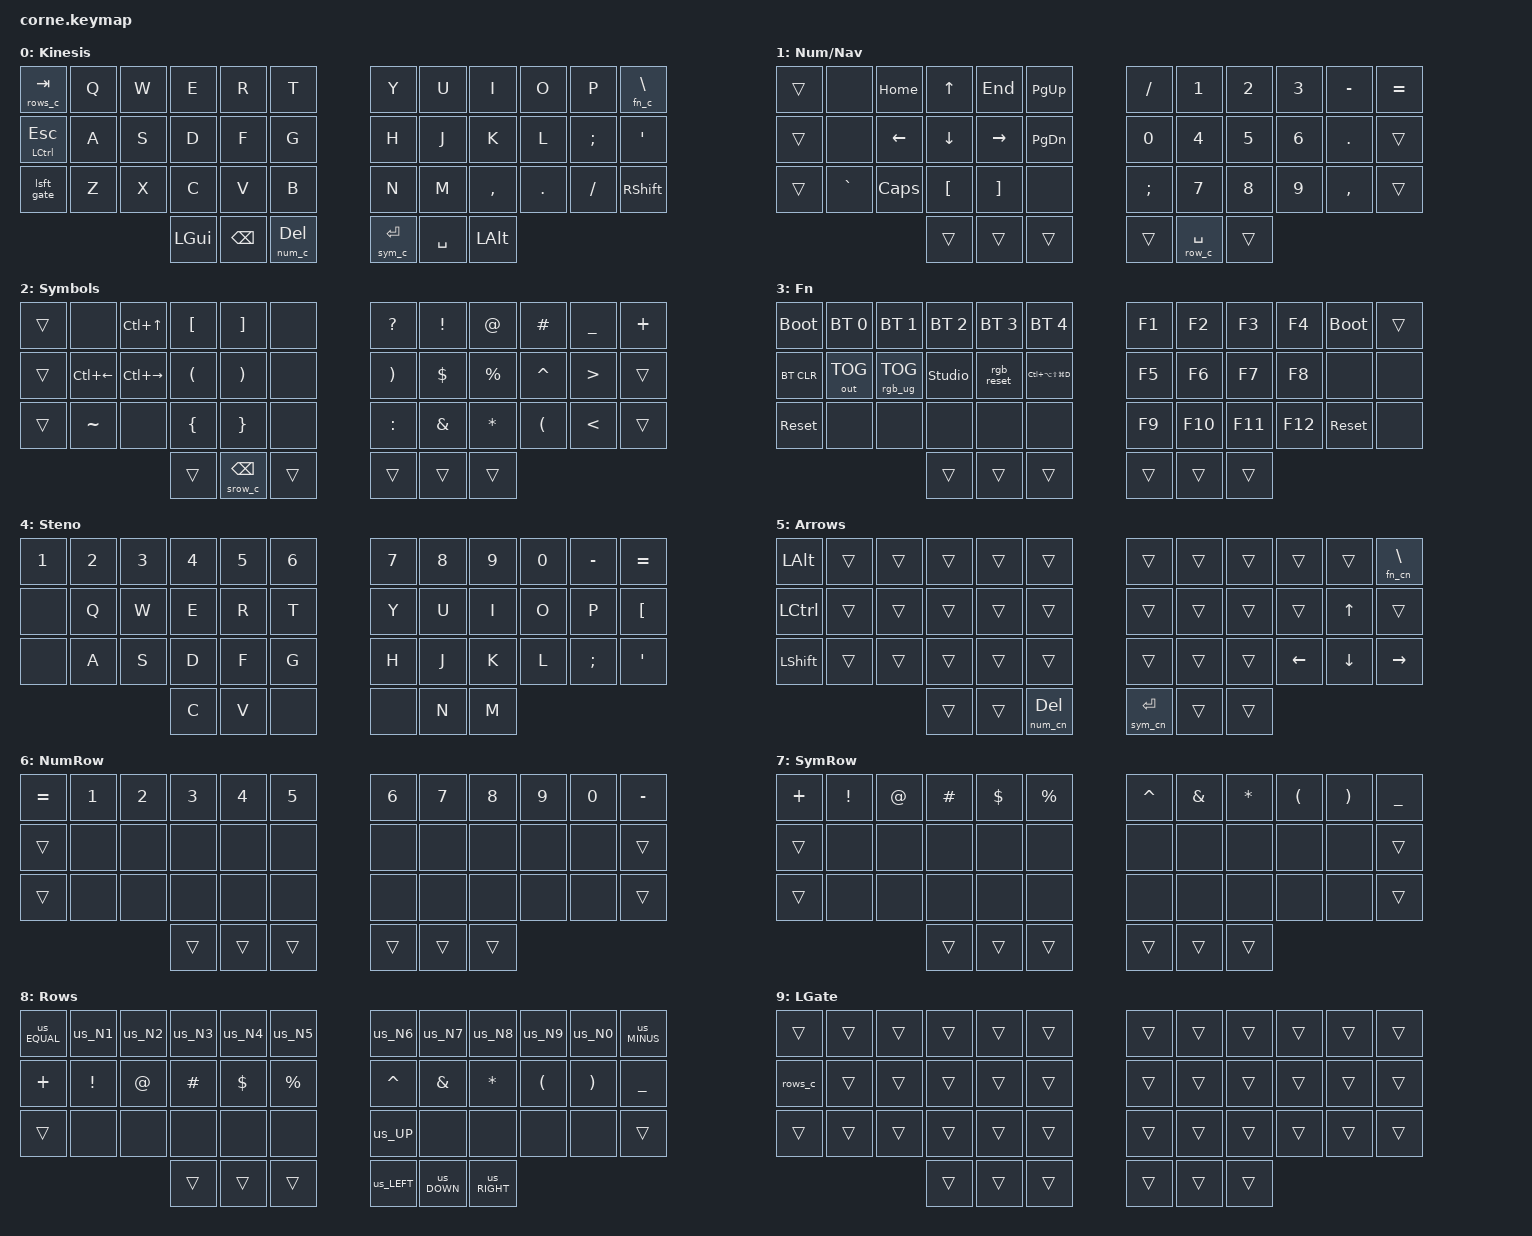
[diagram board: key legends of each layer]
/*
 * Copyright (c) 2020 The ZMK Contributors
 *
 * SPDX-License-Identifier: MIT
 */

#include <behaviors.dtsi>
#include <dt-bindings/zmk/bt.h>
#include <dt-bindings/zmk/keys.h>
#include <dt-bindings/zmk/outputs.h>
#include <dt-bindings/zmk/rgb.h>

#define BASE 0
#define NUM 1
#define SYM 2
#define FN 3
#define STENO 4
#define NAV 5
#define ROW 6
#define SROW 7
#define ROWS 8
#define LGATE 9

// Layer signals for the viewer app (viewer/): each layer has a consumer key that
// macOS ignores. Held layers keep theirs down for as long as they are held;
// locked layers (and the way back to base) tap theirs once.
#define SIG_BASE C_MEDIA_TV
#define SIG_NUM C_MEDIA_VCR
#define SIG_SYM C_MEDIA_TUNER
#define SIG_FN C_MEDIA_TAPE
#define SIG_STENO C_MEDIA_CABLE
#define SIG_NAV C_MEDIA_SATELLITE
#define SIG_ROW C_MEDIA_GAMES
#define SIG_SROW C_MEDIA_CD
#define SIG_ROWS C_MEDIA_GUIDE

&mt {
    flavor = "balanced";
    tapping-term-ms = <200>;
    quick-tap-ms = <175>;
};

&lt {
    flavor = "balanced";
    tapping-term-ms = <200>;
    quick-tap-ms = <175>;
};

/ {
    // Layer colours: every LED changes with the layer (white = typing).
    macros {
        num_c: num_colour {
            compatible = "zmk,behavior-macro";
            #binding-cells = <0>;
            wait-ms = <0>;
            tap-ms = <0>;
            bindings = <&macro_tap &rgb_ug RGB_COLOR_HSB(240,100,25)>,
                       <&macro_press &mo NUM &kp SIG_NUM>,
                       <&macro_pause_for_release>,
                       <&macro_release &mo NUM &kp SIG_NUM>,
                       <&macro_tap &rgb_ug RGB_COLOR_HSB(0,0,25)>;
        };

        sym_c: sym_colour {
            compatible = "zmk,behavior-macro";
            #binding-cells = <0>;
            wait-ms = <0>;
            tap-ms = <0>;
            bindings = <&macro_tap &rgb_ug RGB_COLOR_HSB(30,100,25)>,
                       <&macro_press &mo SYM &kp SIG_SYM>,
                       <&macro_pause_for_release>,
                       <&macro_release &mo SYM &kp SIG_SYM>,
                       <&macro_tap &rgb_ug RGB_COLOR_HSB(0,0,25)>;
        };

        // the top-row layers are reached from Num / Symbols, so they fall back to
        // that layer's colour
        row_c: row_colour {
            compatible = "zmk,behavior-macro";
            #binding-cells = <0>;
            wait-ms = <0>;
            tap-ms = <0>;
            bindings = <&macro_tap &rgb_ug RGB_COLOR_HSB(60,100,25)>,
                       <&macro_press &mo ROW &kp SIG_ROW>,
                       <&macro_pause_for_release>,
                       <&macro_release &mo ROW &kp SIG_ROW>,
                       <&macro_tap &rgb_ug RGB_COLOR_HSB(240,100,25)>;
        };

        srow_c: sym_row_colour {
            compatible = "zmk,behavior-macro";
            #binding-cells = <0>;
            wait-ms = <0>;
            tap-ms = <0>;
            bindings = <&macro_tap &rgb_ug RGB_COLOR_HSB(330,100,25)>,
                       <&macro_press &mo SROW &kp SIG_SROW>,
                       <&macro_pause_for_release>,
                       <&macro_release &mo SROW &kp SIG_SROW>,
                       <&macro_tap &rgb_ug RGB_COLOR_HSB(30,100,25)>;
        };

        // numbers over their symbols, held with two edge keys together (red)
        rows_c: rows_colour {
            compatible = "zmk,behavior-macro";
            #binding-cells = <0>;
            wait-ms = <0>;
            tap-ms = <0>;
            bindings = <&macro_tap &rgb_ug RGB_COLOR_HSB(0,100,25)>,
                       <&macro_press &mo ROWS &kp SIG_ROWS>,
                       <&macro_pause_for_release>,
                       <&macro_release &mo ROWS &kp SIG_ROWS>,
                       <&macro_tap &rgb_ug RGB_COLOR_HSB(0,0,25)>;
        };

        fn_c: fn_colour {
            compatible = "zmk,behavior-macro";
            #binding-cells = <0>;
            wait-ms = <0>;
            tap-ms = <0>;
            bindings = <&macro_tap &rgb_ug RGB_COLOR_HSB(280,100,25)>,
                       <&macro_press &mo FN &kp SIG_FN>,
                       <&macro_pause_for_release>,
                       <&macro_release &mo FN &kp SIG_FN>,
                       <&macro_tap &rgb_ug RGB_COLOR_HSB(0,0,25)>;
        };

        steno_on: steno_on {
            compatible = "zmk,behavior-macro";
            #binding-cells = <0>;
            bindings = <&rgb_ug RGB_COLOR_HSB(120,100,25)>, <&to STENO>, <&kp SIG_STENO>;
        };

        steno_off: steno_off {
            compatible = "zmk,behavior-macro";
            #binding-cells = <0>;
            bindings = <&rgb_ug RGB_COLOR_HSB(0,0,25)>, <&to BASE>, <&kp SIG_BASE>;
        };

        nav_on: nav_on {
            compatible = "zmk,behavior-macro";
            #binding-cells = <0>;
            bindings = <&rgb_ug RGB_COLOR_HSB(180,100,25)>, <&to NAV>, <&kp SIG_NAV>;
        };

        nav_off: nav_off {
            compatible = "zmk,behavior-macro";
            #binding-cells = <0>;
            bindings = <&rgb_ug RGB_COLOR_HSB(0,0,25)>, <&to BASE>, <&kp SIG_BASE>;
        };

        // same as num_c / sym_c / fn_c, but fall back to the NAV colour on release
        num_cn: num_colour_nav {
            compatible = "zmk,behavior-macro";
            #binding-cells = <0>;
            wait-ms = <0>;
            tap-ms = <0>;
            bindings = <&macro_tap &rgb_ug RGB_COLOR_HSB(240,100,25)>,
                       <&macro_press &mo NUM &kp SIG_NUM>,
                       <&macro_pause_for_release>,
                       <&macro_release &mo NUM &kp SIG_NUM>,
                       <&macro_tap &rgb_ug RGB_COLOR_HSB(180,100,25)>;
        };

        sym_cn: sym_colour_nav {
            compatible = "zmk,behavior-macro";
            #binding-cells = <0>;
            wait-ms = <0>;
            tap-ms = <0>;
            bindings = <&macro_tap &rgb_ug RGB_COLOR_HSB(30,100,25)>,
                       <&macro_press &mo SYM &kp SIG_SYM>,
                       <&macro_pause_for_release>,
                       <&macro_release &mo SYM &kp SIG_SYM>,
                       <&macro_tap &rgb_ug RGB_COLOR_HSB(180,100,25)>;
        };

        fn_cn: fn_colour_nav {
            compatible = "zmk,behavior-macro";
            #binding-cells = <0>;
            wait-ms = <0>;
            tap-ms = <0>;
            bindings = <&macro_tap &rgb_ug RGB_COLOR_HSB(280,100,25)>,
                       <&macro_press &mo FN &kp SIG_FN>,
                       <&macro_pause_for_release>,
                       <&macro_release &mo FN &kp SIG_FN>,
                       <&macro_tap &rgb_ug RGB_COLOR_HSB(180,100,25)>;
        };

        // lights on, solid, white: use if the colours ever get out of step
        rgb_reset: rgb_reset {
            compatible = "zmk,behavior-macro";
            #binding-cells = <0>;
            bindings = <&rgb_ug RGB_ON>, <&rgb_ug RGB_EFS_CMD 0>, <&rgb_ug RGB_COLOR_HSB(0,0,25)>;
        };
    };

    behaviors {
        // Left shift: shift as usual, and while it is down esc opens Rows instead
        // (the LGate layer). So hold shift first, then esc, and keep both down.
        lsft_gate: left_shift_gate {
            compatible = "zmk,behavior-macro";
            #binding-cells = <0>;
            wait-ms = <0>;
            tap-ms = <0>;
            bindings = <&macro_press &kp LSHFT &mo LGATE>,
                       <&macro_pause_for_release>,
                       <&macro_release &kp LSHFT &mo LGATE>;
        };

        // The Rows number row: left shift is still held when Rows is reached through it
        // (lsft_gate), so these drop left shift and type the plain number. Right shift
        // passes through, so right shift + 1 is !, as on a full keyboard.
#define UNSHIFTED(name, key) name: name { compatible = "zmk,behavior-mod-morph"; \
            #binding-cells = <0>; bindings = <&kp key>, <&kp key>; mods = <(MOD_LSFT)>; };
        UNSHIFTED(us_N1, N1) UNSHIFTED(us_N2, N2) UNSHIFTED(us_N3, N3) UNSHIFTED(us_N4, N4)
        UNSHIFTED(us_N5, N5) UNSHIFTED(us_N6, N6) UNSHIFTED(us_N7, N7) UNSHIFTED(us_N8, N8)
        UNSHIFTED(us_N9, N9) UNSHIFTED(us_N0, N0) UNSHIFTED(us_EQUAL, EQUAL) UNSHIFTED(us_MINUS, MINUS)

        // The Rows arrows drop only left shift (the one lsft_gate holds), so right shift +
        // arrows still selects.
#define UNSHIFTED_L(name, key) name: name { compatible = "zmk,behavior-mod-morph"; \
            #binding-cells = <0>; bindings = <&kp key>, <&kp key>; mods = <(MOD_LSFT)>; };
        UNSHIFTED_L(us_UP, UP) UNSHIFTED_L(us_DOWN, DOWN) UNSHIFTED_L(us_LEFT, LEFT) UNSHIFTED_L(us_RIGHT, RIGHT)

        // tap = key, hold = NUM layer (blue)
        ltn: layer_tap_num {
            compatible = "zmk,behavior-hold-tap";
            #binding-cells = <2>;
            flavor = "balanced";
            tapping-term-ms = <200>;
            quick-tap-ms = <175>;
            bindings = <&num_c>, <&kp>;
        };

        ltnn: layer_tap_num_nav {
            compatible = "zmk,behavior-hold-tap";
            #binding-cells = <2>;
            flavor = "balanced";
            tapping-term-ms = <200>;
            quick-tap-ms = <175>;
            bindings = <&num_cn>, <&kp>;
        };

        // tap = key, hold = SYM layer (orange)
        lts: layer_tap_sym {
            compatible = "zmk,behavior-hold-tap";
            #binding-cells = <2>;
            flavor = "balanced";
            tapping-term-ms = <200>;
            quick-tap-ms = <175>;
            bindings = <&sym_c>, <&kp>;
        };

        ltsn: layer_tap_sym_nav {
            compatible = "zmk,behavior-hold-tap";
            #binding-cells = <2>;
            flavor = "balanced";
            tapping-term-ms = <200>;
            quick-tap-ms = <175>;
            bindings = <&sym_cn>, <&kp>;
        };

        // tap = key, hold = number row (yellow) / symbol row (pink)
        ltr: layer_tap_row {
            compatible = "zmk,behavior-hold-tap";
            #binding-cells = <2>;
            flavor = "balanced";
            tapping-term-ms = <200>;
            quick-tap-ms = <175>;
            bindings = <&row_c>, <&kp>;
        };

        ltsr: layer_tap_sym_row {
            compatible = "zmk,behavior-hold-tap";
            #binding-cells = <2>;
            flavor = "balanced";
            tapping-term-ms = <200>;
            quick-tap-ms = <175>;
            bindings = <&srow_c>, <&kp>;
        };

        ltfn: layer_tap_fn_nav {
            compatible = "zmk,behavior-hold-tap";
            #binding-cells = <2>;
            flavor = "balanced";
            tapping-term-ms = <200>;
            quick-tap-ms = <175>;
            bindings = <&fn_cn>, <&kp>;
        };

        // tap = key, hold = Rows (red): the top-left Tab, mirroring Fn on the top right
        ltrows: layer_tap_rows {
            compatible = "zmk,behavior-hold-tap";
            #binding-cells = <2>;
            flavor = "balanced";
            tapping-term-ms = <200>;
            quick-tap-ms = <175>;
            bindings = <&rows_c>, <&kp>;
        };

        // tap = key, hold = FN layer (purple)
        ltf: layer_tap_fn {
            compatible = "zmk,behavior-hold-tap";
            #binding-cells = <2>;
            flavor = "balanced";
            tapping-term-ms = <200>;
            quick-tap-ms = <175>;
            bindings = <&fn_c>, <&kp>;
        };
    };

    combos {
        compatible = "zmk,combos";

        // both inner thumb keys together: steno on (green) / off (white)
        steno_enter {
            timeout-ms = <50>;
            bindings = <&steno_on>;
            key-positions = <38 39>;
            layers = <BASE>;
        };

        // both outer thumb keys together: arrows layer on (cyan) / off (white)
        nav_enter {
            timeout-ms = <50>;
            bindings = <&nav_on>;
            key-positions = <36 41>;
            layers = <BASE>;
        };

        nav_exit {
            timeout-ms = <50>;
            bindings = <&nav_off>;
            key-positions = <36 41>;
            layers = <NAV>;
        };

        steno_exit {
            timeout-ms = <50>;
            bindings = <&steno_off>;
            key-positions = <38 39>;
            layers = <STENO>;
        };

        // The two outer keys of the home and bottom rows held together, on either edge
        // (esc + left shift, or ' + right shift): the Rows layer for as long as both
        // are down. On the left, shift first and esc after also works (lsft_gate); the
        // right side stays a together-only chord because right shift then ' is ".
        rows_left {
            timeout-ms = <50>;
            bindings = <&rows_c>;
            key-positions = <12 24>;
            layers = <BASE>;
        };

        rows_right {
            timeout-ms = <50>;
            bindings = <&rows_c>;
            key-positions = <23 35>;
            layers = <BASE>;
        };

        // The three keys under the arrows' up, left and right ( ; . and right shift)
        // together: arrows layer on / off, the same as both outer thumbs.
        nav_enter_cluster {
            timeout-ms = <50>;
            bindings = <&nav_on>;
            key-positions = <22 33 35>;
            layers = <BASE>;
        };

        nav_exit_cluster {
            timeout-ms = <50>;
            bindings = <&nav_off>;
            key-positions = <22 33 35>;
            layers = <NAV>;
        };
    };

    keymap {
        compatible = "zmk,keymap";

        default_layer {
            display-name = "Kinesis";
            // Kinesis Advantage360 letter block and thumb order.
            // -----------------------------------------------------------------------------------------
            // |TAB/RW|  Q  |  W  |  E  |  R  |  T  |   |  Y  |  U  |  I  |  O  |  P  | \ FN |
            // |ESC/CT|  A  |  S  |  D  |  F  |  G  |   |  H  |  J  |  K  |  L  |  ;  |  '   |
            // | SHFT |  Z  |  X  |  C  |  V  |  B  |   |  N  |  M  |  ,  |  .  |  /  | SHFT |
            //                    | CMD | BSPC| DEL |   | ENT | SPC | ALT |
            //                          (hold DEL for numbers, ENT for their symbols)
            // LEDs: white here, blue on Num/Nav, orange on Symbols, purple on Fn, green on Steno

            bindings = <
&ltrows 0 TAB  &kp Q  &kp W  &kp E     &kp R     &kp T          &kp Y          &kp U      &kp I      &kp O    &kp P     &ltf 0 BSLH
&mt LCTRL ESC  &kp A  &kp S  &kp D     &kp F     &kp G          &kp H          &kp J      &kp K      &kp L    &kp SEMI  &kp SQT
&lsft_gate     &kp Z  &kp X  &kp C     &kp V     &kp B          &kp N          &kp M      &kp COMMA  &kp DOT  &kp FSLH  &kp RSHFT
                             &kp LGUI  &kp BSPC  &ltn 0 DEL    &lts 0 ENTER  &kp SPACE  &kp LALT
            >;
        };

        num_layer {
            display-name = "Num/Nav";
            // Numpad under the right hand, reading 1 2 3 from the top; arrow cluster under the left.
            // -----------------------------------------------------------------------------------------
            // |      |     | HOME|  UP | END | PGUP|   |  /  |  1  |  2  |  3  |  -  |  =   |
            // |      |     | LFT | DWN | RGT | PGDN|   |  0  |  4  |  5  |  6  |  .  |      |
            // |      |  `  | CAPS|  [  |  ]  |     |   |  ;  |  7  |  8  |  9  |  ,  |      |
            //                          (also hold SPC for the number row across the top)

            bindings = <
&trans  &none      &kp HOME  &kp UP    &kp END    &kp PG_UP    &kp FSLH  &kp N1  &kp N2  &kp N3  &kp MINUS  &kp EQUAL
&trans  &none      &kp LEFT  &kp DOWN  &kp RIGHT  &kp PG_DN    &kp N0    &kp N4  &kp N5  &kp N6  &kp DOT    &trans
&trans  &kp GRAVE  &kp CAPS  &kp LBKT  &kp RBKT   &none        &kp SEMI  &kp N7  &kp N8  &kp N9  &kp COMMA  &trans
                             &trans    &trans     &trans       &trans    &ltr 0 SPACE  &trans
            >;
        };

        sym_layer {
            display-name = "Symbols";
            // Right hand: the Num layer with shift already held, same positions.
            // Left hand: the bracket pairs, opposite the thumb that holds the layer.
            // -----------------------------------------------------------------------------------------
            // Far left: Mission Control over desktop left / right (Ctrl + arrows).
            // |      |     | MCTL|  [  |  ]  |     |   |  ?  |  !  |  @  |  #  |  _  |  +   |
            // |      | DSK<| DSK>|  (  |  )  |     |   |  )  |  $  |  %  |  ^  |  >  |      |
            // |      |  ~  |     |  {  |  }  |     |   |  :  |  &  |  *  |  (  |  <  |      |
            //                          (also hold BSPC for the symbol row across the top)

            bindings = <
&trans  &none         &kp LC(UP)     &kp LBKT  &kp RBKT  &none    &kp QMARK  &kp EXCL  &kp AT     &kp HASH   &kp UNDER  &kp PLUS
&trans  &kp LC(LEFT)  &kp LC(RIGHT)  &kp LPAR  &kp RPAR  &none    &kp RPAR   &kp DLLR  &kp PRCNT  &kp CARET  &kp GT     &trans
&trans  &kp TILDE      &none          &kp LBRC  &kp RBRC  &none    &kp COLON  &kp AMPS  &kp STAR   &kp LPAR   &kp LT     &trans
                             &trans    &ltsr 0 BSPC  &trans    &trans     &trans    &trans
            >;
        };

        fn_layer {
            display-name = "Fn";
            // Hold the top-right key (\).
            // -----------------------------------------------------------------------------------------
            // | BOOT | BT1 | BT2 | BT3 | BT4 | BT5 |   | F1  | F2  | F3  | F4  | BOOT |     |
            // | BTCLR| USB/BT | RGB | STUDIO | RGB RESET | DICTATE |   | F5  | F6  | F7  | F8  |      |     |
            // | RESET|     |     |     |     |     |   | F9  | F10 | F11 | F12 | RESET|     |

            bindings = <
&bootloader  &bt BT_SEL 0  &bt BT_SEL 1     &bt BT_SEL 2    &bt BT_SEL 3  &bt BT_SEL 4    &kp F1  &kp F2   &kp F3   &kp F4   &bootloader  &trans
&bt BT_CLR   &out OUT_TOG  &rgb_ug RGB_TOG  &studio_unlock  &rgb_reset    &kp LC(LA(LS(LG(D))))           &kp F5  &kp F6   &kp F7   &kp F8   &none        &none
&sys_reset   &none         &none            &none           &none         &none           &kp F9  &kp F10  &kp F11  &kp F12  &sys_reset   &none
                                            &trans          &trans        &trans          &trans  &trans   &trans
            >;
        };

        steno_layer {
            display-name = "Steno";
            // Sends the keys Plover's "Keyboard" machine expects. Top row is the number bar.
            // -----------------------------------------------------------------------------------------
            // |  #   |  #  |  #  |  #  |  #  |  #  |   |  #  |  #  |  #  |  #  |  #  |  #   |
            // |      |  S  |  T  |  P  |  H  |  *  |   |  *  |  F  |  P  |  L  |  T  |  D   |
            // |      |  S  |  K  |  W  |  R  |  *  |   |  *  |  R  |  B  |  G  |  S  |  Z   |
            //                    |  A  |  O  |     |   |     |  E  |  U  |

            bindings = <
&kp N1  &kp N2  &kp N3  &kp N4  &kp N5  &kp N6    &kp N7  &kp N8  &kp N9  &kp N0  &kp MINUS  &kp EQUAL
&none   &kp Q   &kp W   &kp E   &kp R   &kp T     &kp Y   &kp U   &kp I   &kp O   &kp P      &kp LBKT
&none   &kp A   &kp S   &kp D   &kp F   &kp G     &kp H   &kp J   &kp K   &kp L   &kp SEMI   &kp SQT
                        &kp C   &kp V   &none     &none   &kp N   &kp M
            >;
        };

        nav_layer {
            display-name = "Arrows";
            // Locks on. Typing still works; the bottom-right corner becomes an arrow
            // cluster and the left edge is Option / Ctrl / Shift for word moves and selection.
            // -----------------------------------------------------------------------------------------
            // | OPT  |     |     |     |     |     |   |     |     |     |     |     |      |
            // | CTRL |     |     |     |     |     |   |     |     |     |     |  UP |      |
            // | SHFT |     |     |     |     |     |   |     |     |     | LFT | DWN | RGT  |

            bindings = <
&kp LALT   &trans  &trans  &trans  &trans  &trans         &trans           &trans  &trans  &trans    &trans    &ltfn 0 BSLH
&kp LCTRL  &trans  &trans  &trans  &trans  &trans         &trans           &trans  &trans  &trans    &kp UP    &trans
&kp LSHFT  &trans  &trans  &trans  &trans  &trans         &trans           &trans  &trans  &kp LEFT  &kp DOWN  &kp RIGHT
                           &trans  &trans  &ltnn 0 DEL    &ltsn 0 ENTER    &trans  &trans
            >;
        };

        row_layer {
            display-name = "NumRow";
            // Hold DEL (Num), then SPC. Just the classic number row.
            // -----------------------------------------------------------------------------------------
            // |  =   |  1  |  2  |  3  |  4  |  5  |   |  6  |  7  |  8  |  9  |  0  |  -   |

            bindings = <
&kp EQUAL  &kp N1  &kp N2  &kp N3  &kp N4  &kp N5    &kp N6  &kp N7  &kp N8  &kp N9  &kp N0  &kp MINUS
&trans     &none   &none   &none   &none   &none     &none   &none   &none   &none   &none   &trans
&trans     &none   &none   &none   &none   &none     &none   &none   &none   &none   &none   &trans
                           &trans  &trans  &trans    &trans  &trans  &trans
            >;
        };

        sym_row_layer {
            display-name = "SymRow";
            // Hold ENT (Symbols), then BSPC. The number row's symbols, in the same places.
            // -----------------------------------------------------------------------------------------
            // |  +   |  !  |  @  |  #  |  $  |  %  |   |  ^  |  &  |  *  |  (  |  )  |  _   |

            bindings = <
&kp PLUS  &kp EXCL  &kp AT  &kp HASH  &kp DLLR  &kp PRCNT    &kp CARET  &kp AMPS  &kp STAR  &kp LPAR  &kp RPAR  &kp UNDER
&trans    &none     &none   &none     &none     &none        &none      &none     &none     &none     &none     &trans
&trans    &none     &none   &none     &none     &none        &none      &none     &none     &none     &none     &trans
                            &trans    &trans    &trans       &trans     &trans    &trans
            >;
        };

        rows_layer {
            display-name = "Rows";
            // Hold TAB (top left), or left SHIFT then ESC (or both together), or ' + right SHIFT together. The number row, with each
            // number's symbol on the home row under it, as on a full keyboard.
            // -----------------------------------------------------------------------------------------
            // |  =   |  1  |  2  |  3  |  4  |  5  |   |  6  |  7  |  8  |  9  |  0  |  -   |
            // |  +   |  !  |  @  |  #  |  $  |  %  |   |  ^  |  &  |  *  |  (  |  )  |  _   |
            // |      |     |     |     |     |     |   |  ↑  |     |     |     |     |      |
            //                          |     |     |   |  ←  |  ↓  |  →  |
            // Right shift on the number row types its symbol (! @ # ...); left shift doesn't,
            // since it is how Rows is reached.
            // (+ sits under the left pair and _ under the right pair, so each is only
            //  reachable when holding the other edge. Arrows: ↑ on N, ← ↓ → on the right
            //  thumbs, an upside-down T.)

            bindings = <
&us_EQUAL  &us_N1    &us_N2  &us_N3    &us_N4    &us_N5       &us_N6     &us_N7    &us_N8    &us_N9    &us_N0    &us_MINUS
&kp PLUS   &kp EXCL  &kp AT  &kp HASH  &kp DLLR  &kp PRCNT    &kp CARET  &kp AMPS  &kp STAR  &kp LPAR  &kp RPAR  &kp UNDER
&trans     &none     &none   &none     &none     &none        &us_UP     &none     &none     &none     &none     &trans
                             &trans    &trans    &trans       &us_LEFT   &us_DOWN  &us_RIGHT
            >;
        };

        lgate_layer {
            display-name = "LGate";
            // Not a layer you see: on while left shift is held, so esc opens Rows.
            // Everything else passes through (shift itself is held by lsft_gate).
            bindings = <
&trans   &trans  &trans  &trans  &trans  &trans    &trans  &trans  &trans  &trans  &trans  &trans
&rows_c  &trans  &trans  &trans  &trans  &trans    &trans  &trans  &trans  &trans  &trans  &trans
&trans   &trans  &trans  &trans  &trans  &trans    &trans  &trans  &trans  &trans  &trans  &trans
                         &trans  &trans  &trans    &trans  &trans  &trans
            >;
        };
    };
};
